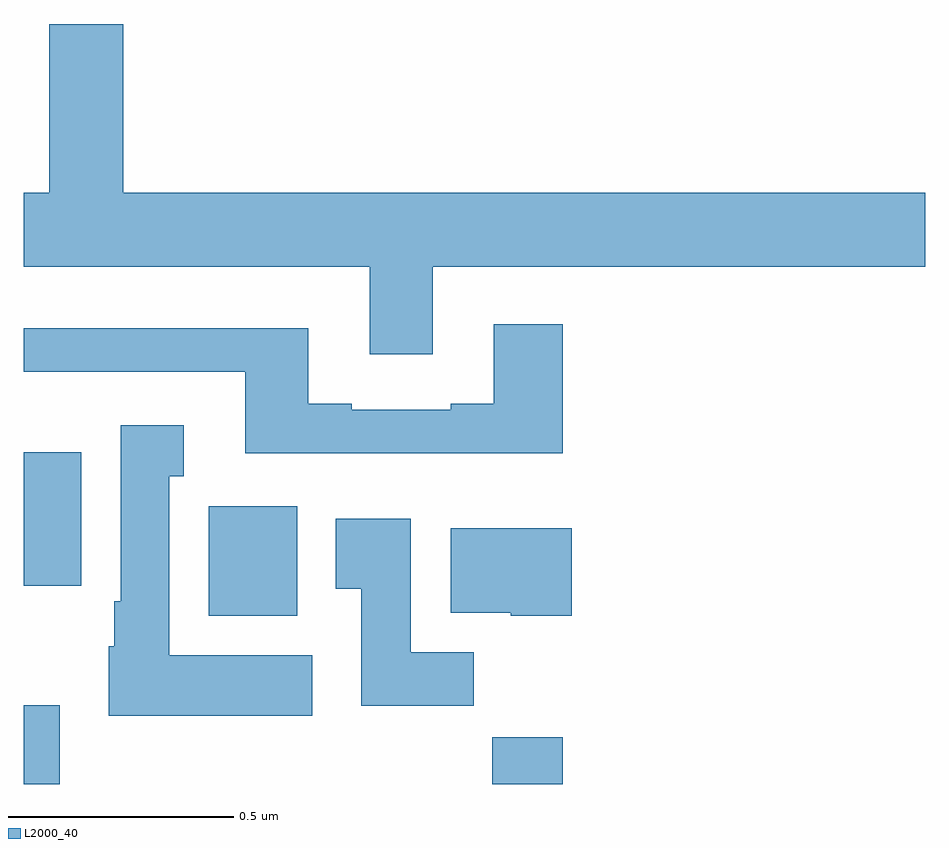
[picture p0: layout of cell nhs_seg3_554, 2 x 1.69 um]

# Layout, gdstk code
import gdstk
lib = gdstk.Library(unit=1e-6, precision=1e-09)
def R(c, l, rs):  # rectangles x0, y0, x1, y1
    for r in rs: c.add(gdstk.rectangle(r[:2], r[2:], *l))
def P(c, l, *ps):  # polygons
    for p in ps: c.add(gdstk.Polygon(p, *l))
L2000_40 = (2000, 40)

nhs_seg3_554 = lib.new_cell('nhs_seg3_554')
R(nhs_seg3_554, L2000_40, [(117,734.4,117.079,734.575), (118.039,734.4,118.196,734.504), (117.41,734.774,117.607,735.016), (117,734.84,117.127,735.136)])
P(nhs_seg3_554, L2000_40, [(117.907,735.548),(119,735.548),(119,735.712),(117.22,735.712),(117.22,736.087),(117.056,736.087),(117.056,735.712),(117,735.712),(117,735.548),(117.767,735.548),(117.767,735.354),(117.907,735.354)],
  [(118.196,735.421),(118.043,735.421),(118.043,735.244),(117.947,735.244),(117.947,735.231),(117.727,735.231),(117.727,735.244),(117.631,735.244),(117.631,735.412),(117,735.412),(117,735.315),(117.491,735.315),(117.491,735.134),(118.196,735.134)],
  [(117.64,734.686),(117.322,734.686),(117.322,735.083),(117.355,735.083),(117.355,735.196),(117.215,735.196),(117.215,734.806),(117.2,734.806),(117.2,734.706),(117.188,734.706),(117.188,734.552),(117.64,734.552)],
  [(117.998,734.692),(117.859,734.692),(117.859,734.989),(117.692,734.989),(117.692,734.833),(117.749,734.833),(117.749,734.574),(117.998,734.574)],
  [(118.216,734.968),(117.947,734.968),(117.947,734.78),(118.08,734.78),(118.08,734.774),(118.216,734.774)])

lib.write_gds('nhs_seg3_554.gds')
